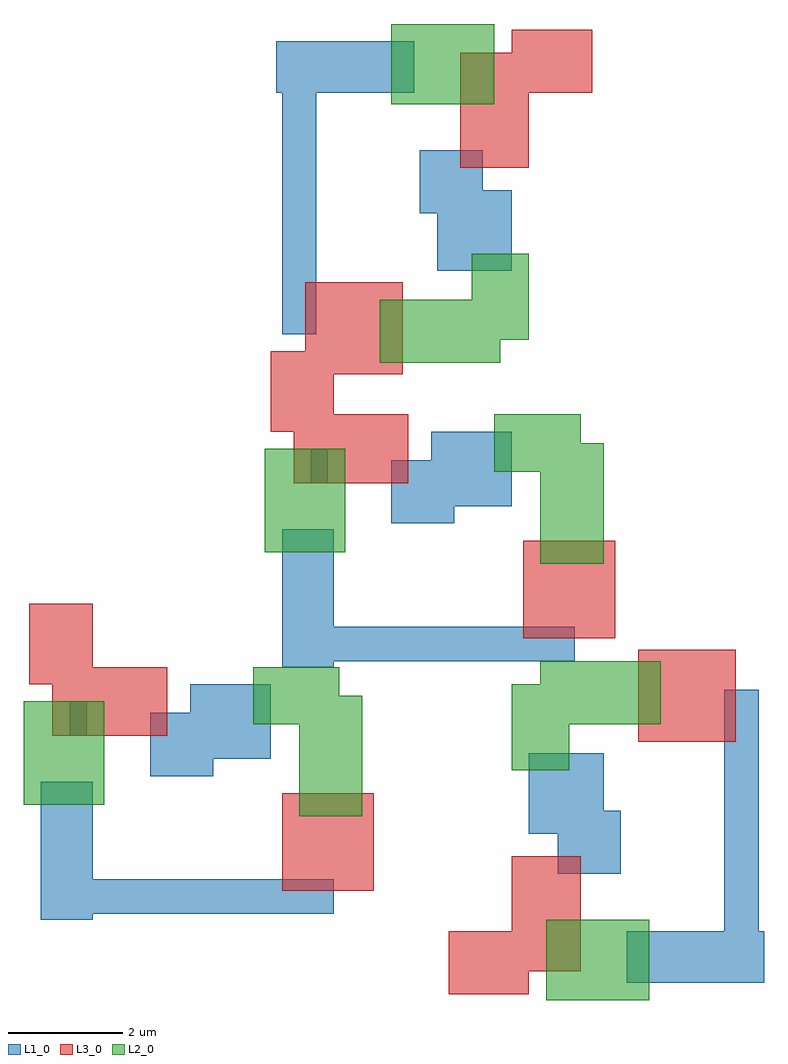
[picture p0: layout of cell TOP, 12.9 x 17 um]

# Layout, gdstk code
from math import pi, radians
import gdstk
lib = gdstk.Library(unit=1e-6, precision=1e-09)
def R(c, l, rs):  # rectangles x0, y0, x1, y1
    for r in rs: c.add(gdstk.rectangle(r[:2], r[2:], *l))
L1_0 = (1, 0)
L2_0 = (2, 0)
L3_0 = (3, 0)

c_c1 = lib.new_cell('C1')
R(c_c1, L1_0, [(-2.7,-3.3,-1.8,-0.9), (-2.1,-3.2,2.4,-2.6), (-0.8,-0.8,0.3,0.3), (-0.1,-0.5,1.3,0.8)])
R(c_c1, L2_0, [(1.8,-1.5,2.9,0.6), (-3,-1.3,-1.6,0.5), (1,0.1,2.5,1.1)])
R(c_c1, L3_0, [(1.5,-2.8,3.1,-1.1), (-2.5,-0.1,-0.5,1.1), (-2.9,0.8,-1.8,2.2)])

c_i2 = lib.new_cell('I2')
c_i2.add(gdstk.Reference(c_c1, (3.1,2.2), rotation=pi))

c_i3 = lib.new_cell('I3')
c_i3.add(gdstk.Reference(c_i2, (0,0)))

c_i1 = lib.new_cell('I1')
c_i1.add(gdstk.Reference(c_c1, (9.6,3), rotation=pi/2))
c_i1.add(gdstk.Reference(c_c1, (3,4.7)))

top = lib.new_cell('TOP')
R(top, L1_0, [(-6.7,-4.2,-6.4,-3.6), (-2.5,0.2,-2.2,0.8)])
top.add(gdstk.Reference(c_c1, (-0.3,0.3)))
top.add(gdstk.Reference(c_i3, (2.4,2.1), rotation=pi/2))
top.add(gdstk.Reference(c_i1, (-7.5,-8.8)))

lib.write_gds('TOP.gds')
